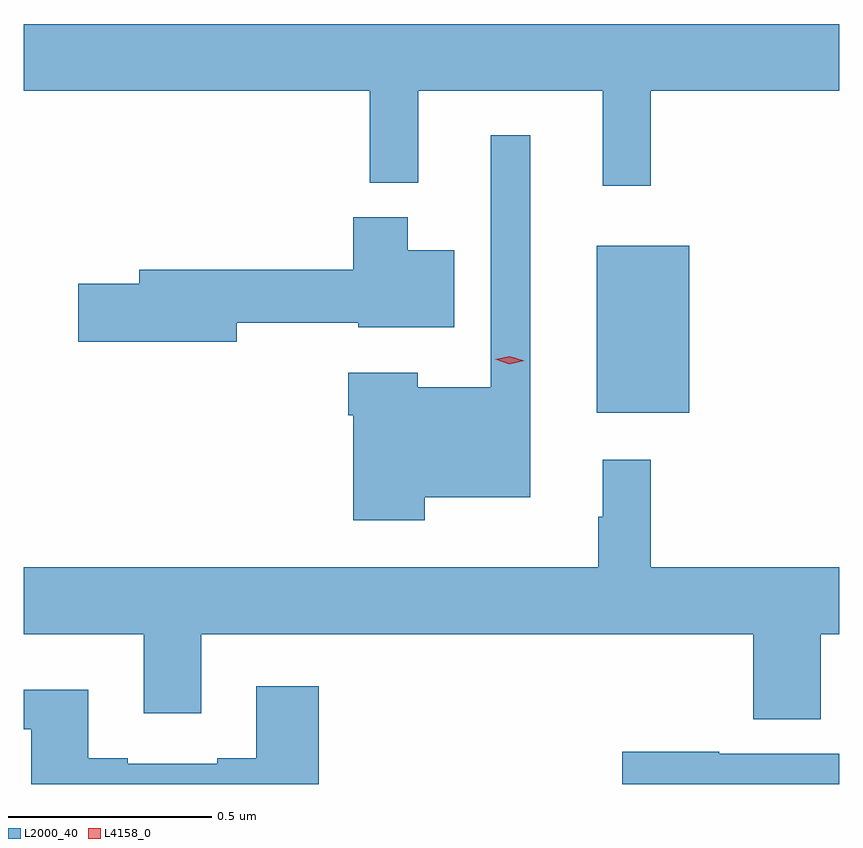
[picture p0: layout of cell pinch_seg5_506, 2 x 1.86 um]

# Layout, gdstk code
import gdstk
lib = gdstk.Library(unit=1e-6, precision=1e-09)
def R(c, l, rs):  # rectangles x0, y0, x1, y1
    for r in rs: c.add(gdstk.rectangle(r[:2], r[2:], *l))
def P(c, l, *ps):  # polygons
    for p in ps: c.add(gdstk.Polygon(p, *l))
L2000_40 = (2000, 40)
L4158_0 = (4158, 0)

pinch_seg5_506 = lib.new_cell('pinch_seg5_506')
R(pinch_seg5_506, L2000_40, [(904.757,850.643,904.984,851.053)])
P(pinch_seg5_506, L2000_40, [(904.889,851.432),(905.352,851.432),(905.352,851.596),(903.352,851.596),(903.352,851.432),(904.201,851.432),(904.201,851.207),(904.319,851.207),(904.319,851.432),(904.772,851.432),(904.772,851.199),(904.889,851.199)],
  [(904.335,850.436),(904.594,850.436),(904.594,851.323),(904.497,851.323),(904.497,850.705),(904.318,850.705),(904.318,850.741),(904.148,850.741),(904.148,850.637),(904.16,850.637),(904.16,850.379),(904.335,850.379)],
  [(903.874,850.864),(904.172,850.864),(904.172,850.853),(904.408,850.853),(904.408,851.041),(904.294,851.041),(904.294,851.122),(904.16,851.122),(904.16,850.993),(903.635,850.993),(903.635,850.959),(903.486,850.959),(903.486,850.817),(903.874,850.817)],
  [(905.306,850.1),(905.352,850.1),(905.352,850.264),(904.889,850.264),(904.889,850.528),(904.772,850.528),(904.772,850.388),(904.761,850.388),(904.761,850.264),(903.352,850.264),(903.352,850.1),(903.647,850.1),(903.647,849.906),(903.787,849.906),(903.787,850.1),(905.141,850.1),(905.141,849.892),(905.306,849.892)],
  [(904.076,849.973),(903.923,849.973),(903.923,849.796),(903.827,849.796),(903.827,849.783),(903.607,849.783),(903.607,849.796),(903.511,849.796),(903.511,849.964),(903.352,849.964),(903.352,849.867),(903.371,849.867),(903.371,849.733),(904.076,849.733)],
  [(905.352,849.807),(905.057,849.807),(905.057,849.812),(904.819,849.812),(904.819,849.733),(905.352,849.733)])
P(pinch_seg5_506, L4158_0, [(904.543,850.762),(904.508,850.774),(904.507,850.774),(904.508,850.774),(904.544,850.782),(904.579,850.771),(904.579,850.771),(904.579,850.771)])

lib.write_gds('pinch_seg5_506.gds')
